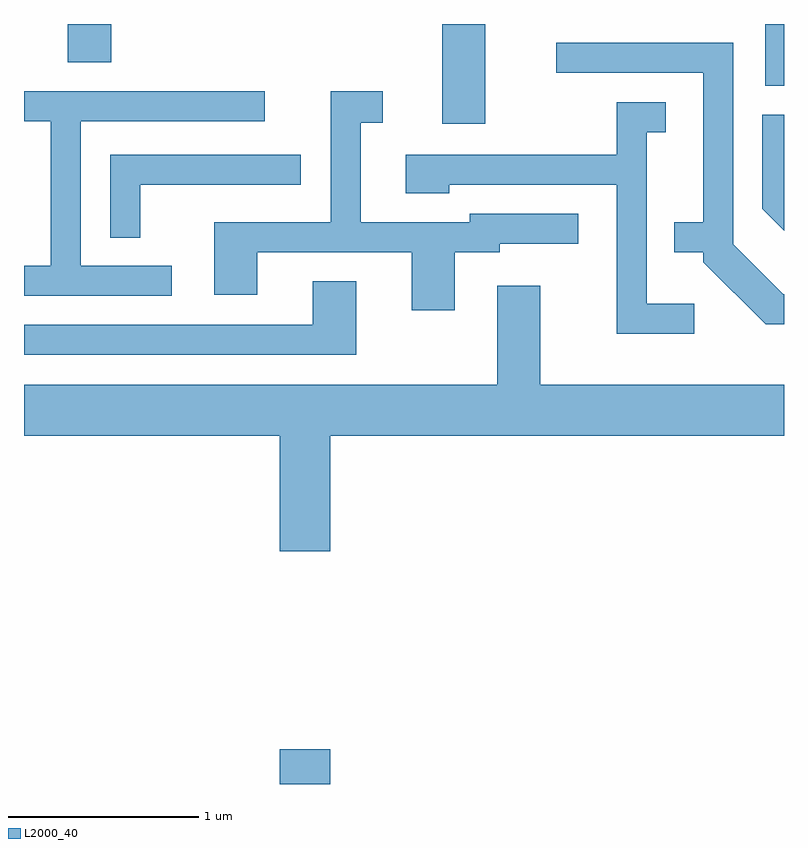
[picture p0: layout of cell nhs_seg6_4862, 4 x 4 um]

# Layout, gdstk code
import gdstk
lib = gdstk.Library(unit=1e-6, precision=1e-09)
def R(c, l, rs):  # rectangles x0, y0, x1, y1
    for r in rs: c.add(gdstk.rectangle(r[:2], r[2:], *l))
def P(c, l, *ps):  # polygons
    for p in ps: c.add(gdstk.Polygon(p, *l))
L2000_40 = (2000, 40)

nhs_seg6_4862 = lib.new_cell('nhs_seg6_4862')
R(nhs_seg6_4862, L2000_40, [(334.956,1588.162,335.224,1588.344), (335.811,1591.636,336.039,1592.162), (337.511,1591.836,337.611,1592.162), (333.841,1591.961,334.069,1592.162)])
P(nhs_seg6_4862, L2000_40, [(337.611,1590.739),(337.607,1590.739),(337.344,1591.002),(337.344,1592.064),(336.413,1592.064),(336.413,1591.906),(337.186,1591.906),(337.186,1591.119),(337.033,1591.119),(337.033,1590.961),(337.186,1590.961),(337.186,1590.909),(337.514,1590.581),(337.611,1590.581)],
  [(334.388,1590.889),(333.909,1590.889),(333.909,1591.651),(334.878,1591.651),(334.878,1591.809),(333.611,1591.809),(333.611,1591.651),(333.751,1591.651),(333.751,1590.889),(333.611,1590.889),(333.611,1590.731),(334.388,1590.731)],
  [(335.879,1590.961),(336.114,1590.961),(336.114,1591.006),(336.528,1591.006),(336.528,1591.164),(335.956,1591.164),(335.956,1591.119),(335.384,1591.119),(335.384,1591.641),(335.498,1591.641),(335.498,1591.809),(335.226,1591.809),(335.226,1591.119),(334.611,1591.119),(334.611,1590.736),(334.839,1590.736),(334.839,1590.961),(335.651,1590.961),(335.651,1590.656),(335.879,1590.656)],
  [(337.138,1590.689),(336.889,1590.689),(336.889,1591.591),(336.988,1591.591),(336.988,1591.749),(336.731,1591.749),(336.731,1591.474),(335.621,1591.474),(335.621,1591.271),(335.849,1591.271),(335.849,1591.316),(336.731,1591.316),(336.731,1590.531),(337.138,1590.531)],
  [(337.611,1591.684),(337.496,1591.684),(337.496,1591.189),(337.611,1591.074)],
  [(334.224,1591.316),(335.068,1591.316),(335.068,1591.474),(334.066,1591.474),(334.066,1591.038),(334.224,1591.038)],
  [(335.359,1590.809),(335.131,1590.809),(335.131,1590.579),(333.611,1590.579),(333.611,1590.421),(335.359,1590.421)],
  [(335.224,1589.996),(337.611,1589.996),(337.611,1590.264),(336.329,1590.264),(336.329,1590.784),(336.101,1590.784),(336.101,1590.264),(333.611,1590.264),(333.611,1589.996),(334.956,1589.996),(334.956,1589.386),(335.224,1589.386)])

lib.write_gds('nhs_seg6_4862.gds')
